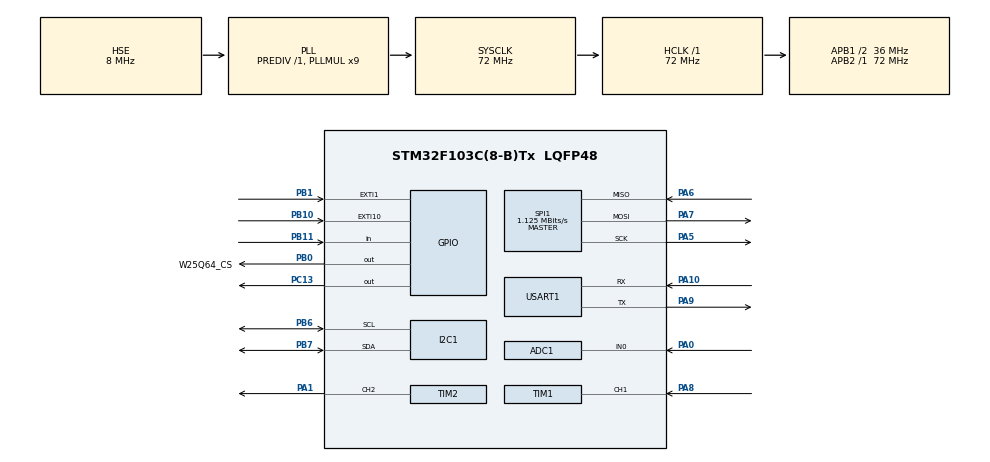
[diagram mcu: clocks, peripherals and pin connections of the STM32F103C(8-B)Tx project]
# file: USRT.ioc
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ADC1.Channel-0\#ChannelRegularConversion=ADC_CHANNEL_0
ADC1.ContinuousConvMode=ENABLE
ADC1.NbrOfConversionFlag=1
ADC1.Rank-0\#ChannelRegularConversion=1
ADC1.SamplingTime-0\#ChannelRegularConversion=ADC_SAMPLETIME_55CYCLES_5
ADC1.master=1
Dma.ADC1.1.Direction=DMA_PERIPH_TO_MEMORY
Dma.ADC1.1.Instance=DMA1_Channel1
Dma.ADC1.1.MemDataAlignment=DMA_MDATAALIGN_HALFWORD
Dma.ADC1.1.MemInc=DMA_MINC_ENABLE
Dma.ADC1.1.Mode=DMA_CIRCULAR
Dma.ADC1.1.PeriphDataAlignment=DMA_PDATAALIGN_HALFWORD
Dma.ADC1.1.PeriphInc=DMA_PINC_DISABLE
Dma.ADC1.1.Priority=DMA_PRIORITY_LOW
Dma.Request0=USART1_RX
Dma.Request1=ADC1
Dma.USART1_RX.0.Direction=DMA_PERIPH_TO_MEMORY
Dma.USART1_RX.0.Instance=DMA1_Channel5
Dma.USART1_RX.0.MemDataAlignment=DMA_MDATAALIGN_BYTE
Dma.USART1_RX.0.MemInc=DMA_MINC_ENABLE
Dma.USART1_RX.0.Mode=DMA_NORMAL
Dma.USART1_RX.0.PeriphDataAlignment=DMA_PDATAALIGN_BYTE
Dma.USART1_RX.0.PeriphInc=DMA_PINC_DISABLE
Dma.USART1_RX.0.Priority=DMA_PRIORITY_LOW
FREERTOS.Mutexes01=uartMutex,Dynamic,NULL,Available;i2cMutex,Dynamic,NULL,Available
FREERTOS.Queues01=controlQueue,8,8,1,Dynamic,NULL,NULL
FREERTOS.Tasks01=KeyTask,24,128,StartKeyTask,Default,NULL,Dynamic,NULL,NULL;MonitorTask,24,128,StartMonitorTask,Default,NULL,Dynamic,NULL,NULL;CommandTask,24,128,StartCommandTask,Default,NULL,Dynamic,NULL,NULL;ControlTask,24,128,StartControlTask,Default,NULL,Dynamic,NULL,NULL
FREERTOS.configTOTAL_HEAP_SIZE=6144
Mcu.Family=STM32F1
Mcu.Name=STM32F103C(8-B)Tx
Mcu.Package=LQFP48
NVIC.DMA1_Channel1_IRQn=true\:5\:0\:false\:false\:true\:true\:false\:true\:true
NVIC.DMA1_Channel5_IRQn=true\:5\:0\:false\:false\:true\:true\:false\:true\:true
NVIC.EXTI15_10_IRQn=true\:5\:0\:false\:false\:true\:true\:true\:true\:true
NVIC.EXTI1_IRQn=true\:5\:0\:false\:false\:true\:true\:true\:true\:true
NVIC.PriorityGroup=NVIC_PRIORITYGROUP_4
NVIC.TIM1_CC_IRQn=true\:5\:0\:false\:false\:true\:true\:true\:true\:true
NVIC.TIM3_IRQn=true\:5\:0\:false\:false\:true\:true\:true\:true\:true
NVIC.TIM4_IRQn=true\:15\:0\:false\:false\:true\:false\:false\:true\:true
NVIC.TimeBase=TIM4_IRQn
NVIC.TimeBaseIP=TIM4
NVIC.USART1_IRQn=true\:5\:0\:false\:false\:true\:true\:true\:true\:true
PA0-WKUP.Signal=ADCx_IN0
PA1.Signal=S_TIM2_CH2
PA10.Mode=Asynchronous
PA10.Signal=USART1_RX
PA13.Mode=Serial_Wire
PA13.Signal=SYS_JTMS-SWDIO
PA14.Mode=Serial_Wire
PA14.Signal=SYS_JTCK-SWCLK
PA5.Mode=Full_Duplex_Master
PA5.Signal=SPI1_SCK
PA6.Mode=Full_Duplex_Master
PA6.Signal=SPI1_MISO
PA7.Mode=Full_Duplex_Master
PA7.Signal=SPI1_MOSI
PA8.Signal=S_TIM1_CH1
PA9.Mode=Asynchronous
PA9.Signal=USART1_TX
PB0.GPIO_Label=W25Q64_CS
PB0.PinState=GPIO_PIN_SET
PB0.Signal=GPIO_Output
PB1.GPIO_ModeDefaultEXTI=GPIO_MODE_IT_FALLING
PB1.GPIO_PuPd=GPIO_PULLUP
PB1.Signal=GPXTI1
PB10.GPIO_ModeDefaultEXTI=GPIO_MODE_IT_FALLING
PB10.GPIO_PuPd=GPIO_PULLUP
PB10.Signal=GPXTI10
PB11.GPIO_PuPd=GPIO_PULLUP
PB11.Signal=GPIO_Input
PB6.Mode=I2C
PB6.Signal=I2C1_SCL
PB7.Mode=I2C
PB7.Signal=I2C1_SDA
PC13-TAMPER-RTC.PinState=GPIO_PIN_SET
PC13-TAMPER-RTC.Signal=GPIO_Output
PD0-OSC_IN.Mode=HSE-External-Oscillator
PD0-OSC_IN.Signal=RCC_OSC_IN
PD1-OSC_OUT.Mode=HSE-External-Oscillator
PD1-OSC_OUT.Signal=RCC_OSC_OUT
ProjectManager.HeapSize=0x200
ProjectManager.StackSize=0x400
ProjectManager.TargetToolchain=MDK-ARM V5.32
RCC.ADCPresc=RCC_ADCPCLK2_DIV6
RCC.AHBFreq_Value=72000000
RCC.APB1CLKDivider=RCC_HCLK_DIV2
RCC.APB1Freq_Value=36000000
RCC.APB1TimFreq_Value=72000000
RCC.APB2Freq_Value=72000000
RCC.APB2TimFreq_Value=72000000
RCC.HCLKFreq_Value=72000000
RCC.PLLMUL=RCC_PLL_MUL9
RCC.PLLSourceVirtual=RCC_PLLSOURCE_HSE
RCC.SYSCLKFreq_VALUE=72000000
RCC.SYSCLKSource=RCC_SYSCLKSOURCE_PLLCLK
RCC.USBFreq_Value=72000000
SH.ADCx_IN0.0=ADC1_IN0,IN0
SH.S_TIM1_CH1.0=TIM1_CH1,Input_Capture1_from_TI1
SH.S_TIM2_CH2.0=TIM2_CH2,PWM Generation2 CH2
SPI1.BaudRatePrescaler=SPI_BAUDRATEPRESCALER_64
SPI1.CalculateBaudRate=1.125 MBits/s
SPI1.Direction=SPI_DIRECTION_2LINES
SPI1.Mode=SPI_MODE_MASTER
SPI1.VirtualType=VM_MASTER
TIM1.Channel-Input_Capture1_from_TI1=TIM_CHANNEL_1
TIM1.Prescaler=71
TIM2.Channel-PWM\ Generation2\ CH2=TIM_CHANNEL_2
TIM2.Period=19999
TIM2.Prescaler=71
TIM2.Pulse-PWM\ Generation2\ CH2=1500
TIM3.AutoReloadPreload=TIM_AUTORELOAD_PRELOAD_ENABLE
TIM3.Period=9999
TIM3.Prescaler=7199
USART1.VirtualMode=VM_ASYNC
VP_FREERTOS_VS_CMSIS_V2.Mode=CMSIS_V2
VP_SYS_VS_tim4.Mode=TIM4
VP_TIM1_VS_ClockSourceINT.Mode=Internal
VP_TIM2_VS_ClockSourceINT.Mode=Internal
VP_TIM3_VS_ClockSourceINT.Mode=Internal
board=custom

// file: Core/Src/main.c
/* USER CODE BEGIN Header */
/**
  ******************************************************************************
  * @file           : main.c
  * @brief          : Main program body
  ******************************************************************************
  * @attention
  *
  * Copyright (c) 2026 STMicroelectronics.
  * All rights reserved.
  *
  * This software is licensed under terms that can be found in the LICENSE file
  * in the root directory of this software component.
  * If no LICENSE file comes with this software, it is provided AS-IS.
  *
  ******************************************************************************
  */
/* USER CODE END Header */
#include "main.h"
#include "cmsis_os.h"
#include "adc.h"
#include "dma.h"
#include "i2c.h"
#include "spi.h"
#include "tim.h"
#include "usart.h"
#include "gpio.h"

/* USER CODE BEGIN Includes */
#include "uart.h"
#include <stdio.h>
#include "app_control.h"
#include "app_config.h"
#include "bsp_led.h"
#include "bsp_oled.h"
#include "bsp_sht30.h"
#include "bsp_servo.h"
#include "bsp_w25q64.h"
#include "bsp_encoder.h"
#include "bsp_key.h"
#include "app_rtos.h"
/* USER CODE END Includes */

/* USER CODE BEGIN PV */
#define DMA_RX_SIZE 64
static volatile uint8_t timer_flag = 0;
static uint8_t dma_rx_buf[DMA_RX_SIZE];
volatile uint8_t key_flag = 0;
volatile uint8_t key_locked = 0;
volatile uint32_t ic_value = 0;
volatile uint8_t ic_flag = 0;
volatile uint32_t ic_last = 0;
volatile uint32_t ic_period = 0;
volatile uint8_t ic_first = 1;
volatile uint8_t ic_period_flag = 0;
volatile uint32_t ic_rise = 0;
volatile uint32_t ic_last_rise = 0;
volatile uint32_t ic_high_width = 0;
volatile uint8_t ic_have_last_rise = 0;
volatile uint8_t ic_wait_falling = 0;
volatile uint8_t ic_result_flag = 0;
/* USER CODE END PV */

void SystemClock_Config(void);
void MX_FREERTOS_Init(void);

int main(void)
{

  /* MCU Configuration--------------------------------------------------------*/

  /* Reset of all peripherals, Initializes the Flash interface and the Systick. */
  HAL_Init();

  /* Configure the system clock */
  SystemClock_Config();

  /* Initialize all configured peripherals */
  MX_GPIO_Init();
  MX_DMA_Init();
  MX_USART1_UART_Init();
  MX_I2C1_Init();
  MX_TIM3_Init();
  MX_ADC1_Init();
  MX_TIM2_Init();
  MX_SPI1_Init();
  MX_TIM1_Init();
  /* USER CODE BEGIN 2 */
OLED_Init();

HAL_UARTEx_ReceiveToIdle_DMA(&huart1,dma_rx_buf,sizeof(dma_rx_buf));//启动 DMA 接收，直到串口空闲时或者接收数组满时停止并进入返回函数HAL_UARTEx_RxEventCallback
__HAL_DMA_DISABLE_IT(huart1.hdmarx, DMA_IT_HT);//阻止HAL_UARTEx_ReceiveToIdle_DMA在存到一半时进入HAL_UARTEx_RxEventCallback返回函数
HAL_TIM_PWM_Start(&htim2, TIM_CHANNEL_2);//开启TIM2和TIM2通道2的PWM

App_ControlInit();
App_ConfigLoad();
  /* USER CODE END 2 */

  /* Init scheduler */
  osKernelInitialize();  /* Call init function for freertos objects (in cmsis_os2.c) */
  MX_FREERTOS_Init();

  /* Start scheduler */
  osKernelStart();

  /* We should never get here as control is now taken by the scheduler */

  /* Infinite loop */
  /* USER CODE BEGIN WHILE */
  while (1)
  {

/* ================= KEY TASK ================= */
Key_Task();//负责“检测松开稳定50ms、解除锁定”

if(Key_GetPressEvent())     //一次有效按键事件
{
    App_ConfigSave();//按下按键后将数据存入w25q64中
}

}
    /* USER CODE END WHILE */

}

void SystemClock_Config(void)
{
  RCC_OscInitTypeDef RCC_OscInitStruct = {0};
  RCC_ClkInitTypeDef RCC_ClkInitStruct = {0};
  RCC_PeriphCLKInitTypeDef PeriphClkInit = {0};

  /** Initializes the RCC Oscillators according to the specified parameters
  * in the RCC_OscInitTypeDef structure.
  */
  RCC_OscInitStruct.OscillatorType = RCC_OSCILLATORTYPE_HSE;
  RCC_OscInitStruct.HSEState = RCC_HSE_ON;
  RCC_OscInitStruct.HSEPredivValue = RCC_HSE_PREDIV_DIV1;
  RCC_OscInitStruct.HSIState = RCC_HSI_ON;
  RCC_OscInitStruct.PLL.PLLState = RCC_PLL_ON;
  RCC_OscInitStruct.PLL.PLLSource = RCC_PLLSOURCE_HSE;
  RCC_OscInitStruct.PLL.PLLMUL = RCC_PLL_MUL9;
  if (HAL_RCC_OscConfig(&RCC_OscInitStruct) != HAL_OK)
  {
    Error_Handler();
  }

  /** Initializes the CPU, AHB and APB buses clocks
  */
  RCC_ClkInitStruct.ClockType = RCC_CLOCKTYPE_HCLK|RCC_CLOCKTYPE_SYSCLK
                              |RCC_CLOCKTYPE_PCLK1|RCC_CLOCKTYPE_PCLK2;
  RCC_ClkInitStruct.SYSCLKSource = RCC_SYSCLKSOURCE_PLLCLK;
  RCC_ClkInitStruct.AHBCLKDivider = RCC_SYSCLK_DIV1;
  RCC_ClkInitStruct.APB1CLKDivider = RCC_HCLK_DIV2;
  RCC_ClkInitStruct.APB2CLKDivider = RCC_HCLK_DIV1;

  if (HAL_RCC_ClockConfig(&RCC_ClkInitStruct, FLASH_LATENCY_2) != HAL_OK)
  {
    Error_Handler();
  }
  PeriphClkInit.PeriphClockSelection = RCC_PERIPHCLK_ADC;
  PeriphClkInit.AdcClockSelection = RCC_ADCPCLK2_DIV6;
  if (HAL_RCCEx_PeriphCLKConfig(&PeriphClkInit) != HAL_OK)
  {
    Error_Handler();
  }
}

/* USER CODE BEGIN 4 */

void HAL_GPIO_EXTI_Callback(uint16_t GPIO_Pin) //外部中断时触发的返回函数
{
	/* 原来的PB1按键 */
    if(GPIO_Pin == GPIO_PIN_1)
    {
          Key_EXTI_Handler();
    }

	/* 编码器A相 PB10 */
    else if(GPIO_Pin == GPIO_PIN_10)
 {
    int8_t step = Encoder_EXTI_Handler();
	  if (step != 0)
    {
        ControlMsg_t msg;

        msg.cmd = CTRL_ENCODER_STEP;
        msg.value = step;

        if(osMessageQueuePut(controlQueueHandle,
                              &msg,
                              0,
                              0)!=osOK)
			{
				control_queue_drop_count++;
			}
    }

}
}

void HAL_UARTEx_RxEventCallback(UART_HandleTypeDef *huart,    //UART返回函数
                                uint16_t Size)
{
	uint16_t i;
    if(huart->Instance == USART1)
	{
		for(i = 0; i < Size; i++)
    {
         RingBuffer_Write(dma_rx_buf[i]);
    }
		HAL_UARTEx_ReceiveToIdle_DMA(huart,dma_rx_buf,sizeof(dma_rx_buf));
	  __HAL_DMA_DISABLE_IT(huart1.hdmarx, DMA_IT_HT);
	  osThreadFlagsSet(CommandTaskHandle, CMD_RX_FLAG);//找到 CommandTask，把它自己的 Thread Flags 中 CMD_RX_FLAG 对应的位设置成 1。
    }

}

/* USER CODE END 4 */

void HAL_TIM_PeriodElapsedCallback(TIM_HandleTypeDef *htim)
{
  if (htim->Instance == TIM4)
  {
    HAL_IncTick();
  }
}

void Error_Handler(void)
{
  __disable_irq();
  while (1)
  {
  }
}

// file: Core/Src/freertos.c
/* USER CODE BEGIN Header */
/**
  ******************************************************************************
  * File Name          : freertos.c
  * Description        : Code for freertos applications
  ******************************************************************************
  * @attention
  *
  * Copyright (c) 2026 STMicroelectronics.
  * All rights reserved.
  *
  * This software is licensed under terms that can be found in the LICENSE file
  * in the root directory of this software component.
  * If no LICENSE file comes with this software, it is provided AS-IS.
  *
  ******************************************************************************
  */
/* USER CODE END Header */

#include "FreeRTOS.h"
#include "task.h"
#include "main.h"
#include "cmsis_os.h"

/* USER CODE BEGIN Includes */
#include <stdio.h>
#include "app_monitor.h"
#include "app_command.h"
#include "app_rtos.h"
#include "app_control.h"
#include "app_config.h"
#include "bsp_key.h"
/* USER CODE END Includes */

/* USER CODE BEGIN PD */
volatile uint32_t control_queue_drop_count = 0;
#define CMD_RX_FLAG    (1U << 0)
/* USER CODE END PD */

/* Definitions for KeyTask */
osThreadId_t KeyTaskHandle;
const osThreadAttr_t KeyTask_attributes = {
  .name = "KeyTask",
  .stack_size = 128 * 4,
  .priority = (osPriority_t) osPriorityNormal,
};
/* Definitions for MonitorTask */
osThreadId_t MonitorTaskHandle;
const osThreadAttr_t MonitorTask_attributes = {
  .name = "MonitorTask",
  .stack_size = 128 * 4,
  .priority = (osPriority_t) osPriorityNormal,
};
/* Definitions for CommandTask */
osThreadId_t CommandTaskHandle;
const osThreadAttr_t CommandTask_attributes = {
  .name = "CommandTask",
  .stack_size = 128 * 4,
  .priority = (osPriority_t) osPriorityNormal,
};
/* Definitions for ControlTask */
osThreadId_t ControlTaskHandle;
const osThreadAttr_t ControlTask_attributes = {
  .name = "ControlTask",
  .stack_size = 128 * 4,
  .priority = (osPriority_t) osPriorityNormal,
};
/* Definitions for controlQueue */
osMessageQueueId_t controlQueueHandle;
const osMessageQueueAttr_t controlQueue_attributes = {
  .name = "controlQueue"
};
/* Definitions for uartMutex */
osMutexId_t uartMutexHandle;
const osMutexAttr_t uartMutex_attributes = {
  .name = "uartMutex"
};
/* Definitions for i2cMutex */
osMutexId_t i2cMutexHandle;
const osMutexAttr_t i2cMutex_attributes = {
  .name = "i2cMutex"
};

void StartKeyTask(void *argument);
void StartMonitorTask(void *argument);
void StartCommandTask(void *argument);
void StartControlTask(void *argument);

void MX_FREERTOS_Init(void); /* (MISRA C 2004 rule 8.1) */

void MX_FREERTOS_Init(void) {
  /* Create the mutex(es) */
  /* creation of uartMutex */
  uartMutexHandle = osMutexNew(&uartMutex_attributes);

  /* creation of i2cMutex */
  i2cMutexHandle = osMutexNew(&i2cMutex_attributes);

  /* Create the queue(s) */
  /* creation of controlQueue */
  controlQueueHandle = osMessageQueueNew (8, 8, &controlQueue_attributes);

  /* Create the thread(s) */
  /* creation of KeyTask */
  KeyTaskHandle = osThreadNew(StartKeyTask, NULL, &KeyTask_attributes);

  /* creation of MonitorTask */
  MonitorTaskHandle = osThreadNew(StartMonitorTask, NULL, &MonitorTask_attributes);

  /* creation of CommandTask */
  CommandTaskHandle = osThreadNew(StartCommandTask, NULL, &CommandTask_attributes);

  /* creation of ControlTask */
  ControlTaskHandle = osThreadNew(StartControlTask, NULL, &ControlTask_attributes);

}

void StartKeyTask(void *argument)
{
  /* USER CODE BEGIN StartKeyTask */
  /* Infinite loop */
  for(;;)
  {
    Key_Task();
        if (Key_GetPressEvent())
        {
            ControlMsg_t msg;

            msg.cmd = CTRL_SAVE;
            msg.value = 0;

            if(osMessageQueuePut(controlQueueHandle,
                              &msg,
                              0,
                              0)!=osOK)
			{
				control_queue_drop_count++;
			}
        }

        osDelay(10);
  }
  /* USER CODE END StartKeyTask */
}

void StartMonitorTask(void *argument)
{
  /* USER CODE BEGIN StartMonitorTask */
  /* Infinite loop */
  for(;;)
  {

	 App_MonitorTask();
    osDelay(1000);

  }
  /* USER CODE END StartMonitorTask */
}

void StartCommandTask(void *argument)
{
  /* USER CODE BEGIN StartCommandTask */
  /* Infinite loop */
  for(;;)
  {
	osThreadFlagsWait(CMD_RX_FLAG,
                         osFlagsWaitAny,
                         osWaitForever);//等事件（通知事件），没有串口事件就 Blocked，收到 CMD_RX_FLAG 才继续处理命令
	Command_Task();

  }
  /* USER CODE END StartCommandTask */
}

void StartControlTask(void *argument)
{
  /* USER CODE BEGIN StartControlTask */
  /* Infinite loop */
  for(;;)
  {
    ControlMsg_t msg;

    osMessageQueueGet(controlQueueHandle,
                      &msg,
                      NULL,
                      osWaitForever);
switch(msg.cmd)  //cmd非0代表执行
{
	case CTRL_SERVO_SET:
		App_ControlSetServoAngle(msg.value);
	     break;
	case CTRL_SAVE:
		App_ConfigSave();
	     break;
	case CTRL_LOAD:
		App_ConfigLoad();
	     break;
	case CTRL_ENCODER_STEP:
	  App_ControlEncoderStep(msg.value);
	    break;
}

    // 根据 msg.cmd 和 msg.value 执行
  }
  /* USER CODE END StartControlTask */
}
